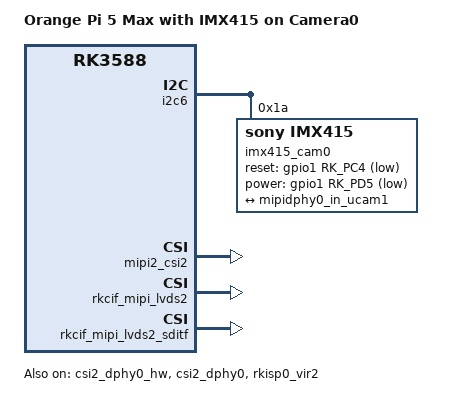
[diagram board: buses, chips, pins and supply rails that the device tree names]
// SPDX-License-Identifier: (GPL-2.0+ OR MIT)
/* Orange Pi 5 Max: one four-lane IMX415 on Camera0. */
#include "rk3588-orangepi-5-max.dts"

/ {
	model = "Orange Pi 5 Max with IMX415 on Camera0";
};

&i2c6 {
	status = "okay";

	imx415_cam0: imx415@1a {
		compatible = "sony,imx415";
		reg = <0x1a>;
		clocks = <&cru CLK_MIPI_CAMARAOUT_M1>;
		clock-names = "xvclk";
		assigned-clocks = <&cru CLK_MIPI_CAMARAOUT_M1>;
		assigned-clock-rates = <37125000>;
		power-domains = <&power RK3588_PD_VI>;
		pinctrl-names = "default";
		pinctrl-0 = <&mipim1_camera1_clk>;
		reset-gpios = <&gpio1 RK_PC4 GPIO_ACTIVE_LOW>;
		power-gpios = <&gpio1 RK_PD5 GPIO_ACTIVE_LOW>;
		rockchip,camera-module-index = <0>;
		rockchip,camera-module-facing = "back";
		rockchip,camera-module-name = "IMX415";
		rockchip,camera-module-lens-name = "default";
		rockchip,camera-hdr-mode = <0>;
		status = "okay";

		port {
			imx415_cam0_out: endpoint {
				remote-endpoint = <&mipidphy0_in_ucam1>;
				data-lanes = <1 2 3 4>;
			};
		};
	};
};

/* Replace the disabled OV13855 input; keep the other sensors disabled. */
&mipidphy0_in_ucam1 {
	remote-endpoint = <&imx415_cam0_out>;
	data-lanes = <1 2 3 4>;
};

&ov13855_out0 {
	/delete-property/ remote-endpoint;
};

&csi2_dphy0_hw {
	status = "okay";
};

&csi2_dphy0 {
	status = "okay";
};

&mipi2_csi2 {
	status = "okay";
};

&rkcif_mipi_lvds2 {
	status = "okay";
};

&rkcif_mipi_lvds2_sditf {
	status = "okay";
};

&rkisp0_vir2 {
	status = "okay";
};
